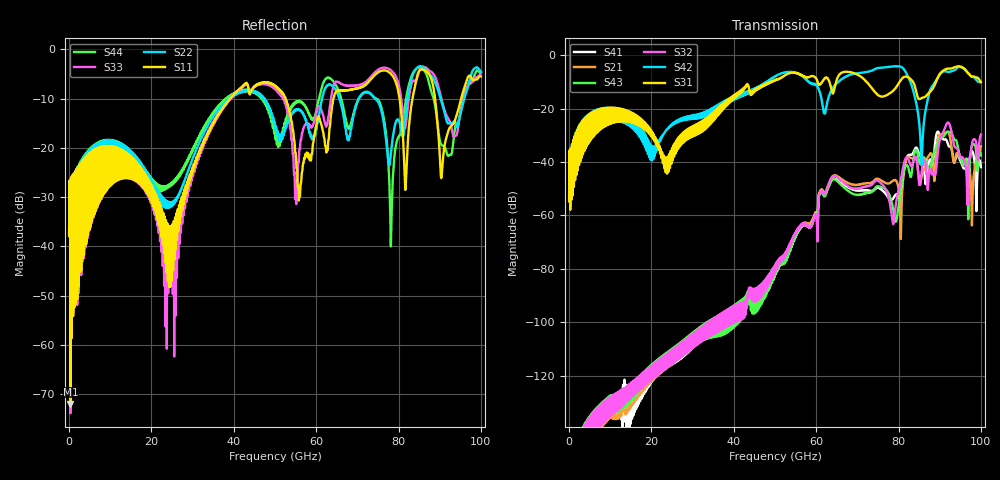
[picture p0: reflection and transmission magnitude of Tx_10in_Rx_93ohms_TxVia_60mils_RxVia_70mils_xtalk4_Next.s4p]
! Info: Touchstone file created by Circ.  Input file=Tx_10in_Rx_93ohms_TxVia_60mils_RxVia_70mils.circ
# Hz S RI R 50
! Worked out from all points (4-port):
!   10000 points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, 10 MHz to 100 GHz, reference 50 ohm
!   strongest paths, dB at 10 MHz, 25.01 GHz, 50.01 GHz, 75.01 GHz, 100 GHz:
!     S31: -54.7, -34.8, -9.3, -15.0, -10.2
!     S42: -54.1, -25.8, -7.9, -4.8, -10.0
!     S32: -195.1, -114.8, -79.4, -47.0, -29.7
!     S43: -159.2, -115.0, -79.3, -49.1, -37.5
!     S21: -195.8, -114.0, -80.2, -46.3, -34.2
!     S41: -161.0, -114.7, -80.5, -49.7, -41.9
!   lowest |S11| = -72.0 dB at 330 MHz (marker M1), VSWR 1.00, Z = 50 - j0.00986 ohm
!   |S11| at or under -10 dB: start of sweep to 39.15 GHz; 52.57 GHz to 64.18 GHz (11.62 GHz wide, 19.9 % of centre); 88.87 GHz to 95.21 GHz (6.336 GHz wide, 6.88 % of centre) (the widest 3 of 4)
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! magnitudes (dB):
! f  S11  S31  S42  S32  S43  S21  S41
! 10 MHz  -37.9  -54.7  -54.1  -195.1  -159.2  -195.8  -161.0
! 330 MHz  -72.0  -40.3  -40.3  -165.6  -165.4  -167.1  -165.6
! 49.5 GHz  -7.1  -9.8  -8.5  -80.7  -81.2  -81.5  -82.2
! 64.21 GHz  -9.9  -14.0  -11.9  -45.2  -46.5  -45.1  -46.2
! 78.2 GHz  -5.0  -14.0  -4.3  -58.3  -54.2  -47.6  -54.4
! 85.58 GHz  -4.1  -16.1  -40.6  -44.1  -40.9  -45.4  -37.8
! 100 GHz  -5.5  -10.2  -10.0  -29.7  -37.5  -34.2  -41.9
